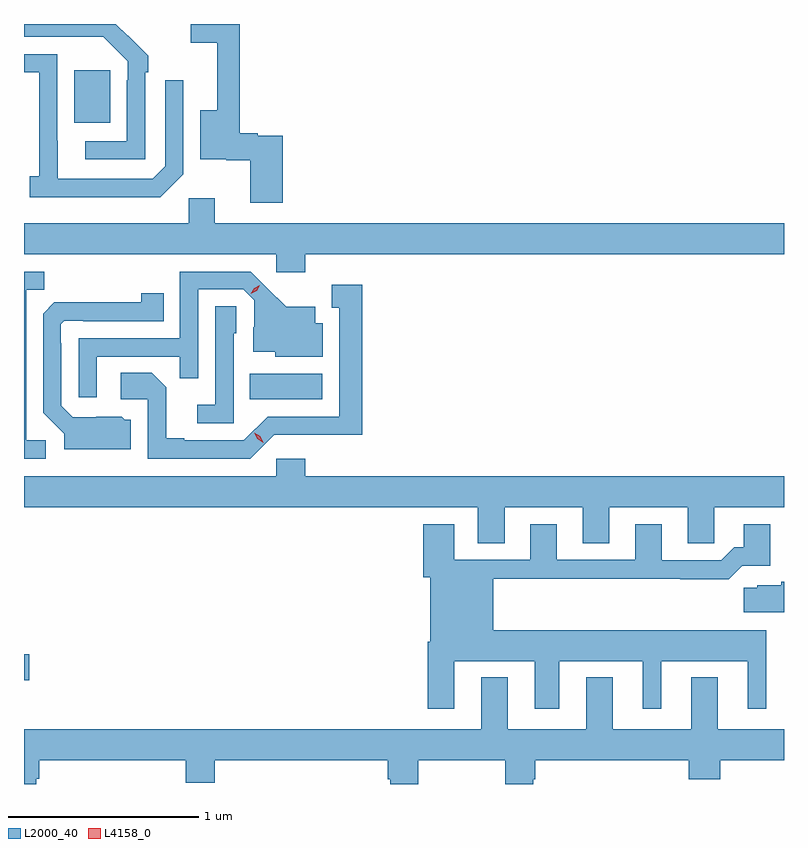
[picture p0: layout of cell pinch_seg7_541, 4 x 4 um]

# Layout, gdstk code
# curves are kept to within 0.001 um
import gdstk
lib = gdstk.Library(unit=1e-6, precision=1e-09)
def R(c, l, rs):  # rectangles x0, y0, x1, y1
    for r in rs: c.add(gdstk.rectangle(r[:2], r[2:], *l))
def P(c, l, *ps):  # polygons
    for p in ps: c.add(gdstk.Polygon(p, *l))
L2000_40 = (2000, 40)
L4158_0 = (4158, 0)

pinch_seg7_541 = lib.new_cell('pinch_seg7_541')
R(pinch_seg7_541, L2000_40, [(170.59,1055.651,170.617,1055.786), (171.778,1057.13,172.159,1057.264), (170.855,1058.585,171.043,1058.86)])
P(pinch_seg7_541, L2000_40, [(171.953,1058.515),(171.819,1058.515),(171.819,1058.528),(171.725,1058.528),(171.725,1059.104),(171.468,1059.104),(171.468,1059.006),(171.608,1059.006),(171.608,1058.65),(171.518,1058.65),(171.518,1058.393),(171.654,1058.393),(171.654,1058.386),(171.782,1058.386),(171.782,1058.163),(171.953,1058.163)],
  [(171.228,1058.849),(171.243,1058.849),(171.243,1058.937),(171.074,1059.104),(170.59,1059.104),(170.59,1059.036),(171.007,1059.036),(171.135,1058.907),(171.135,1058.807),(171.132,1058.807),(171.132,1058.487),(170.913,1058.487),(170.913,1058.391),(171.228,1058.391)],
  [(171.429,1058.313),(171.429,1058.809),(171.333,1058.809),(171.333,1058.355),(171.267,1058.289),(170.767,1058.289),(170.766,1058.946),(170.59,1058.946),(170.59,1058.85),(170.67,1058.85),(170.67,1058.302),(170.619,1058.302),(170.619,1058.192),(171.308,1058.192)],
  [(172.07,1057.892),(174.59,1057.892),(174.59,1058.056),(171.595,1058.056),(171.595,1058.188),(171.456,1058.188),(171.456,1058.056),(170.59,1058.056),(170.59,1057.892),(171.918,1057.892),(171.918,1057.797),(172.07,1057.797)],
  [(170.973,1057.353),(171.409,1057.353),(171.409,1057.24),(171.507,1057.24),(171.507,1057.707),(171.744,1057.707),(171.801,1057.65),(171.801,1057.508),(171.797,1057.508),(171.797,1057.379),(171.912,1057.379),(171.912,1057.352),(172.162,1057.352),(172.162,1057.528),(172.123,1057.528),(172.123,1057.615),(171.971,1057.615),(171.784,1057.8),(171.411,1057.8),(171.411,1057.449),(170.877,1057.449),(170.877,1057.14),(170.973,1057.14)],
  [(170.704,1056.912),(170.601,1056.912),(170.601,1057.705),(170.697,1057.705),(170.697,1057.8),(170.59,1057.8),(170.59,1056.816),(170.704,1056.816)],
  [(171.906,1056.942),(172.369,1056.941),(172.369,1057.732),(172.211,1057.732),(172.211,1057.611),(172.25,1057.611),(172.25,1057.038),(171.873,1057.038),(171.747,1056.912),(171.433,1056.912),(171.433,1056.925),(171.339,1056.925),(171.339,1057.192),(171.263,1057.268),(171.099,1057.268),(171.099,1057.128),(171.24,1057.128),(171.24,1056.816),(171.78,1056.816)],
  [(171.151,1057.02),(171.12,1057.02),(171.104,1057.036),(170.847,1057.035),(170.787,1057.095),(170.787,1057.424),(170.784,1057.424),(170.784,1057.524),(170.802,1057.542),(170.902,1057.542),(170.902,1057.539),(171.326,1057.539),(171.326,1057.687),(171.208,1057.687),(171.208,1057.64),(170.75,1057.639),(170.691,1057.58),(170.691,1057.058),(170.801,1056.948),(170.801,1056.866),(171.151,1056.866)],
  [(171.693,1057.476),(171.708,1057.476),(171.708,1057.619),(171.597,1057.619),(171.597,1057.099),(171.501,1057.099),(171.501,1057.002),(171.693,1057.002)],
  [(173.119,1056.56),(173.531,1056.56),(173.531,1056.37),(173.671,1056.37),(173.671,1056.56),(174.083,1056.56),(174.083,1056.37),(174.222,1056.37),(174.222,1056.56),(174.59,1056.56),(174.59,1056.724),(172.07,1056.724),(172.07,1056.817),(171.918,1056.817),(171.918,1056.724),(170.59,1056.724),(170.59,1056.56),(172.979,1056.56),(172.979,1056.37),(173.119,1056.37)],
  [(172.855,1055.75),(173.279,1055.75),(173.279,1055.499),(173.407,1055.499),(173.407,1055.75),(173.846,1055.75),(173.846,1055.499),(173.944,1055.499),(173.944,1055.75),(174.398,1055.75),(174.398,1055.499),(174.496,1055.499),(174.496,1055.914),(173.059,1055.914),(173.059,1056.184),(174.043,1056.184),(174.043,1056.182),(174.299,1056.182),(174.369,1056.252),(174.517,1056.252),(174.517,1056.472),(174.377,1056.472),(174.377,1056.349),(174.328,1056.349),(174.261,1056.282),(173.947,1056.282),(173.947,1056.472),(173.807,1056.472),(173.807,1056.285),(173.395,1056.285),(173.395,1056.472),(173.255,1056.472),(173.255,1056.285),(172.855,1056.285),(172.855,1056.472),(172.691,1056.472),(172.691,1056.192),(172.727,1056.192),(172.727,1055.854),(172.715,1055.854),(172.715,1055.499),(172.855,1055.499)],
  [(174.59,1056.169),(174.576,1056.169),(174.576,1056.151),(174.45,1056.151),(174.45,1056.137),(174.378,1056.137),(174.378,1056.008),(174.59,1056.008)],
  [(170.655,1055.132),(170.669,1055.132),(170.669,1055.228),(171.44,1055.228),(171.44,1055.111),(171.593,1055.111),(171.593,1055.228),(172.505,1055.228),(172.505,1055.13),(172.517,1055.13),(172.517,1055.104),(172.665,1055.104),(172.665,1055.228),(173.122,1055.228),(173.122,1055.104),(173.269,1055.104),(173.269,1055.13),(173.282,1055.13),(173.282,1055.228),(174.089,1055.228),(174.089,1055.129),(174.254,1055.129),(174.254,1055.228),(174.59,1055.228),(174.59,1055.392),(174.241,1055.392),(174.241,1055.665),(174.101,1055.665),(174.101,1055.392),(173.689,1055.392),(173.689,1055.665),(173.549,1055.665),(173.549,1055.392),(173.137,1055.392),(173.137,1055.665),(172.997,1055.665),(172.997,1055.392),(170.59,1055.392),(170.59,1055.104),(170.655,1055.104)])
P(pinch_seg7_541, L4158_0, [(171.85,1056.9),(171.818,1056.92),(171.801,1056.952),(171.801,1056.953),(171.801,1056.953),(171.833,1056.933),(171.85,1056.901),(171.85,1056.9)],
  [(171.784,1057.684),(171.784,1057.684),(171.801,1057.714),(171.832,1057.729),(171.832,1057.729),(171.832,1057.729),(171.815,1057.699),(171.784,1057.684)])

lib.write_gds('pinch_seg7_541.gds')
